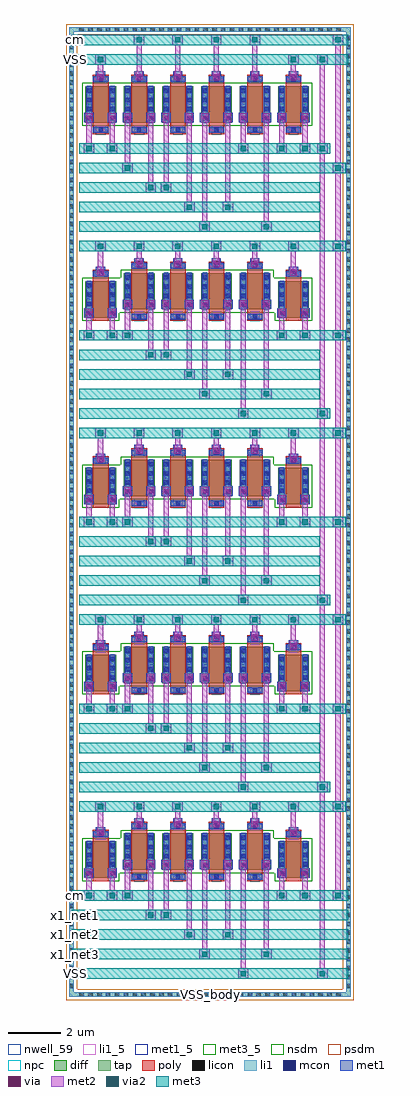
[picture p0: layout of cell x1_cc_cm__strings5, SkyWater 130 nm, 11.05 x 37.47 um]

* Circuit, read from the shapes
.subckt x1_cc_cm__strings5 VSS VSS_body cm x1_net1 x1_net2 x1_net3
XM1 cm cm cm VSS_body sky130_fd_pr__nfet_01v8 w=1.4 l=0.6 m=8
XM2 VSS VSS VSS VSS_body sky130_fd_pr__nfet_01v8 w=1.4 l=0.6 m=2
XM3 x1_net1 cm cm VSS_body sky130_fd_pr__nfet_01v8 w=1.4 l=0.6
XM4 nfet_01v8_W1p4_L0p6_m1__nf1_gboth_sdfull_ng_21/D cm cm VSS_body sky130_fd_pr__nfet_01v8 w=1.4 l=0.6
XM5 nfet_01v8_W1p4_L0p6_m1__nf1_gboth_sdfull_ng_15/D cm cm VSS_body sky130_fd_pr__nfet_01v8 w=1.4 l=0.6
XM6 nfet_01v8_W1p4_L0p6_m1__nf1_gboth_sdfull_ng_9/D cm cm VSS_body sky130_fd_pr__nfet_01v8 w=1.4 l=0.6
XM7 nfet_01v8_W1p4_L0p6_m1__nf1_gboth_sdfull_ng_3/D cm cm VSS_body sky130_fd_pr__nfet_01v8 w=1.4 l=0.6
XM8 x1_net2 cm x1_net1 VSS_body sky130_fd_pr__nfet_01v8 w=1.4 l=0.6
XM9 nfet_01v8_W1p4_L0p6_m1__nf1_gboth_sdfull_ng_20/D cm nfet_01v8_W1p4_L0p6_m1__nf1_gboth_sdfull_ng_21/D VSS_body sky130_fd_pr__nfet_01v8 w=1.4 l=0.6
XM10 nfet_01v8_W1p4_L0p6_m1__nf1_gboth_sdfull_ng_14/D cm nfet_01v8_W1p4_L0p6_m1__nf1_gboth_sdfull_ng_15/D VSS_body sky130_fd_pr__nfet_01v8 w=1.4 l=0.6
XM11 nfet_01v8_W1p4_L0p6_m1__nf1_gboth_sdfull_ng_8/D cm nfet_01v8_W1p4_L0p6_m1__nf1_gboth_sdfull_ng_9/D VSS_body sky130_fd_pr__nfet_01v8 w=1.4 l=0.6
XM12 nfet_01v8_W1p4_L0p6_m1__nf1_gboth_sdfull_ng_2/D cm nfet_01v8_W1p4_L0p6_m1__nf1_gboth_sdfull_ng_3/D VSS_body sky130_fd_pr__nfet_01v8 w=1.4 l=0.6
XM13 x1_net2 cm x1_net3 VSS_body sky130_fd_pr__nfet_01v8 w=1.4 l=0.6
XM14 nfet_01v8_W1p4_L0p6_m1__nf1_gboth_sdfull_ng_20/D cm nfet_01v8_W1p4_L0p6_m1__nf1_gboth_sdfull_ng_19/D VSS_body sky130_fd_pr__nfet_01v8 w=1.4 l=0.6
XM15 nfet_01v8_W1p4_L0p6_m1__nf1_gboth_sdfull_ng_14/D cm nfet_01v8_W1p4_L0p6_m1__nf1_gboth_sdfull_ng_13/D VSS_body sky130_fd_pr__nfet_01v8 w=1.4 l=0.6
XM16 nfet_01v8_W1p4_L0p6_m1__nf1_gboth_sdfull_ng_8/D cm nfet_01v8_W1p4_L0p6_m1__nf1_gboth_sdfull_ng_7/D VSS_body sky130_fd_pr__nfet_01v8 w=1.4 l=0.6
XM17 nfet_01v8_W1p4_L0p6_m1__nf1_gboth_sdfull_ng_2/D cm nfet_01v8_W1p4_L0p6_m1__nf1_gboth_sdfull_ng_1/D VSS_body sky130_fd_pr__nfet_01v8 w=1.4 l=0.6
XM18 x1_net3 cm VSS VSS_body sky130_fd_pr__nfet_01v8 w=1.4 l=0.6
XM19 nfet_01v8_W1p4_L0p6_m1__nf1_gboth_sdfull_ng_19/D cm VSS VSS_body sky130_fd_pr__nfet_01v8 w=1.4 l=0.6
XM20 nfet_01v8_W1p4_L0p6_m1__nf1_gboth_sdfull_ng_13/D cm VSS VSS_body sky130_fd_pr__nfet_01v8 w=1.4 l=0.6
XM21 nfet_01v8_W1p4_L0p6_m1__nf1_gboth_sdfull_ng_7/D cm VSS VSS_body sky130_fd_pr__nfet_01v8 w=1.4 l=0.6
XM22 nfet_01v8_W1p4_L0p6_m1__nf1_gboth_sdfull_ng_1/D cm VSS VSS_body sky130_fd_pr__nfet_01v8 w=1.4 l=0.6
.ends

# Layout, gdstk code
from math import pi, radians
import gdstk
lib = gdstk.Library(unit=1e-6, precision=1e-09)
def R(c, l, rs):  # rectangles x0, y0, x1, y1
    for r in rs: c.add(gdstk.rectangle(r[:2], r[2:], *l))
def A(c, l, x, y, w, h, nx, ny, dx, dy):  # array of equal rectangles
    R(c, l, [(x+i*dx, y+j*dy, x+i*dx+w, y+j*dy+h) for i in range(nx) for j in range(ny)])
nwell_59 = (64, 59)
diff = (65, 20)
tap = (65, 44)
poly = (66, 20)
licon = (66, 44)
li1_5 = (67, 5)
li1 = (67, 20)
mcon = (67, 44)
met1_5 = (68, 5)
met1 = (68, 20)
via = (68, 44)
met2 = (69, 20)
via2 = (69, 44)
met3_5 = (70, 5)
met3 = (70, 20)
nsdm = (93, 44)
psdm = (94, 20)
npc = (95, 20)

sky130_fd_pr__nfet_01v8_ = lib.new_cell('sky130_fd_pr__nfet_01v8_KCM6UP')
R(sky130_fd_pr__nfet_01v8_, diff, [(-0.59,-0.7,0.59,0.7)])
R(sky130_fd_pr__nfet_01v8_, poly, [(-0.3,-1.14,0.3,1.14)])
A(sky130_fd_pr__nfet_01v8_, licon, -0.53, -0.595, 0.17, 0.17, 1, 4, 0, 0.34)
A(sky130_fd_pr__nfet_01v8_, licon, 0.36, -0.595, 0.17, 0.17, 1, 4, 0, 0.34)
R(sky130_fd_pr__nfet_01v8_, licon, [(-0.085,-1.06,0.085,-0.89), (-0.085,0.89,0.085,1.06)])
R(sky130_fd_pr__nfet_01v8_, li1, [(-0.3,-1.06,0.3,-0.89), (-0.53,-0.72,-0.36,0.72), (0.36,-0.72,0.53,0.72), (-0.3,0.89,0.3,1.06)])
A(sky130_fd_pr__nfet_01v8_, mcon, -0.53, -0.625, 0.17, 0.17, 1, 4, 0, 0.36)
A(sky130_fd_pr__nfet_01v8_, mcon, 0.36, -0.625, 0.17, 0.17, 1, 4, 0, 0.36)
R(sky130_fd_pr__nfet_01v8_, mcon, [(-0.085,-1.06,0.085,-0.89), (-0.085,0.89,0.085,1.06)])
R(sky130_fd_pr__nfet_01v8_, met1, [(-0.28,-1.09,0.28,-0.86), (-0.56,-0.7,-0.33,0.7), (0.33,-0.7,0.56,0.7), (-0.28,0.86,0.28,1.09)])
R(sky130_fd_pr__nfet_01v8_, nsdm, [(-0.715,-0.825,0.715,0.825)])
R(sky130_fd_pr__nfet_01v8_, npc, [(-0.185,-1.16,0.185,-0.79), (-0.185,0.79,0.185,1.16)])
sky130_fd_pr__nfet_01v8_.add(gdstk.Label('D', (-0.445,0), layer=67, texttype=5))
sky130_fd_pr__nfet_01v8_.add(gdstk.Label('S', (0.445,0), layer=67, texttype=5))
sky130_fd_pr__nfet_01v8_.add(gdstk.Label('G', (0,0.975), layer=67, texttype=5))

nfet_01v8_w1p4_l0p6_m1__ = lib.new_cell('nfet_01v8_W1p4_L0p6_m1__nf1_gboth_sdfull_ng')
R(nfet_01v8_w1p4_l0p6_m1__, nwell_59, [(0.05,1.09,0.15,1.19)])
R(nfet_01v8_w1p4_l0p6_m1__, met1_5, [(0.03,1.14,0.26,1.34), (0.92,1.14,1.15,1.34), (0.31,2,0.87,2.23)])
R(nfet_01v8_w1p4_l0p6_m1__, met1, [(0.03,1.14,0.26,1.34), (0.92,1.14,1.15,1.34), (0.31,2,0.87,2.23)])
nfet_01v8_w1p4_l0p6_m1__.add(gdstk.Reference(sky130_fd_pr__nfet_01v8_, (0.59,1.14)))
nfet_01v8_w1p4_l0p6_m1__.add(gdstk.Label('D', (0.145,1.24), layer=68, texttype=5))
nfet_01v8_w1p4_l0p6_m1__.add(gdstk.Label('S', (1.035,1.24), layer=68, texttype=5))
nfet_01v8_w1p4_l0p6_m1__.add(gdstk.Label('G', (0.59,2.115), layer=68, texttype=5))
nfet_01v8_w1p4_l0p6_m1__.add(gdstk.Label('B', (0.1,1.14), layer=64, texttype=59))

c_sky130_fd_pr__nfet_01v8_ = lib.new_cell('sky130_fd_pr__nfet_01v8_RUA5M6')
R(c_sky130_fd_pr__nfet_01v8_, diff, [(-0.59,-0.855,0.59,0.545)])
R(c_sky130_fd_pr__nfet_01v8_, poly, [(-0.3,-0.985,0.3,0.985)])
A(c_sky130_fd_pr__nfet_01v8_, licon, -0.53, -0.75, 0.17, 0.17, 1, 4, 0, 0.34)
A(c_sky130_fd_pr__nfet_01v8_, licon, 0.36, -0.75, 0.17, 0.17, 1, 4, 0, 0.34)
R(c_sky130_fd_pr__nfet_01v8_, licon, [(-0.085,0.735,0.085,0.905)])
R(c_sky130_fd_pr__nfet_01v8_, li1, [(-0.53,-0.875,-0.36,0.565), (0.36,-0.875,0.53,0.565), (-0.3,0.735,0.3,0.905)])
A(c_sky130_fd_pr__nfet_01v8_, mcon, -0.53, -0.78, 0.17, 0.17, 1, 4, 0, 0.36)
A(c_sky130_fd_pr__nfet_01v8_, mcon, 0.36, -0.78, 0.17, 0.17, 1, 4, 0, 0.36)
R(c_sky130_fd_pr__nfet_01v8_, mcon, [(-0.085,0.735,0.085,0.905)])
R(c_sky130_fd_pr__nfet_01v8_, met1, [(-0.56,-0.855,-0.33,0.545), (0.33,-0.855,0.56,0.545), (-0.28,0.705,0.28,0.935)])
R(c_sky130_fd_pr__nfet_01v8_, nsdm, [(-0.715,-0.98,0.715,0.67)])
R(c_sky130_fd_pr__nfet_01v8_, npc, [(-0.185,0.635,0.185,1.005)])
c_sky130_fd_pr__nfet_01v8_.add(gdstk.Label('D', (-0.445,-0.155), layer=67, texttype=5))
c_sky130_fd_pr__nfet_01v8_.add(gdstk.Label('S', (0.445,-0.155), layer=67, texttype=5))
c_sky130_fd_pr__nfet_01v8_.add(gdstk.Label('G', (0,0.82), layer=67, texttype=5))

nfet_01v8_w1p4_l0p6_m8__ = lib.new_cell('nfet_01v8_W1p4_L0p6_m8__nf1_gtop_sdfull_ng')
R(nfet_01v8_w1p4_l0p6_m8__, nwell_59, [(0.05,0.78,0.15,0.88)])
R(nfet_01v8_w1p4_l0p6_m8__, met1_5, [(0.03,0.83,0.26,1.03), (0.92,0.83,1.15,1.03), (0.31,1.69,0.87,1.92)])
R(nfet_01v8_w1p4_l0p6_m8__, met1, [(0.03,0.83,0.26,1.03), (0.92,0.83,1.15,1.03), (0.31,1.69,0.87,1.92)])
nfet_01v8_w1p4_l0p6_m8__.add(gdstk.Reference(c_sky130_fd_pr__nfet_01v8_, (0.59,0.985)))
nfet_01v8_w1p4_l0p6_m8__.add(gdstk.Label('D', (0.145,0.93), layer=68, texttype=5))
nfet_01v8_w1p4_l0p6_m8__.add(gdstk.Label('S', (1.035,0.93), layer=68, texttype=5))
nfet_01v8_w1p4_l0p6_m8__.add(gdstk.Label('G', (0.59,1.805), layer=68, texttype=5))
nfet_01v8_w1p4_l0p6_m8__.add(gdstk.Label('B', (0.1,0.83), layer=64, texttype=59))

x1_cc_cm__strings5 = lib.new_cell('x1_cc_cm__strings5')
R(x1_cc_cm__strings5, tap, [(-0.485,-4.435,10.315,-4.265), (-0.485,-4.265,-0.315,32.615), (10.145,-4.265,10.315,32.615), (-0.485,32.615,10.315,32.785)])
A(x1_cc_cm__strings5, licon, -0.1, -4.435, 0.17, 0.17, 30, 2, 0.34, 37.05)
A(x1_cc_cm__strings5, licon, -0.485, -4.1, 0.17, 0.17, 1, 108, 0, 0.34)
A(x1_cc_cm__strings5, licon, 10.145, -4.1, 0.17, 0.17, 1, 108, 0, 0.34)
R(x1_cc_cm__strings5, li1_5, [(4.865,-4.4,4.965,-4.3)])
R(x1_cc_cm__strings5, li1, [(-0.485,-4.435,10.315,-4.265), (-0.485,-4.265,-0.315,32.615), (10.145,-4.265,10.315,32.615), (-0.485,32.615,10.315,32.785)])
A(x1_cc_cm__strings5, met1, 0.09, 0.13, 0.36, 0.36, 1, 4, 0, 7.17)
A(x1_cc_cm__strings5, met1, 0.98, 0.13, 0.36, 0.36, 1, 4, 0, 7.17)
A(x1_cc_cm__strings5, met1, 7.49, 0.13, 0.36, 0.36, 1, 4, 0, 7.17)
A(x1_cc_cm__strings5, met1, 8.38, 0.13, 0.36, 0.36, 1, 4, 0, 7.17)
A(x1_cc_cm__strings5, met1, 1.57, 0.46, 0.36, 0.36, 1, 5, 0, 7.17)
A(x1_cc_cm__strings5, met1, 2.46, 0.46, 0.36, 0.36, 1, 5, 0, 7.17)
A(x1_cc_cm__strings5, met1, 3.05, 0.46, 0.36, 0.36, 1, 5, 0, 7.17)
A(x1_cc_cm__strings5, met1, 3.94, 0.46, 0.36, 0.36, 1, 5, 0, 7.17)
A(x1_cc_cm__strings5, met1, 4.53, 0.46, 0.36, 0.36, 1, 5, 0, 7.17)
A(x1_cc_cm__strings5, met1, 5.42, 0.46, 0.36, 0.36, 1, 5, 0, 7.17)
A(x1_cc_cm__strings5, met1, 6.01, 0.46, 0.36, 0.36, 1, 5, 0, 7.17)
A(x1_cc_cm__strings5, met1, 6.9, 0.46, 0.36, 0.36, 1, 5, 0, 7.17)
A(x1_cc_cm__strings5, met1, 0.535, 1.72, 0.36, 0.36, 1, 4, 0, 7.17)
A(x1_cc_cm__strings5, met1, 7.935, 1.72, 0.36, 0.36, 1, 4, 0, 7.17)
A(x1_cc_cm__strings5, met1, 2.015, 2.05, 0.36, 0.36, 4, 4, 1.48, 7.17)
A(x1_cc_cm__strings5, met1, 0.535, 30.73, 0.36, 0.36, 6, 1, 1.48, 0)
R(x1_cc_cm__strings5, met1, [(0.09,29.14,0.45,29.5), (0.98,29.14,1.34,29.5), (7.49,29.14,7.85,29.5), (8.38,29.14,8.74,29.5)])
A(x1_cc_cm__strings5, via, 0.195, 0.235, 0.15, 0.15, 1, 4, 0, 7.17)
A(x1_cc_cm__strings5, via, 1.085, 0.235, 0.15, 0.15, 1, 4, 0, 7.17)
A(x1_cc_cm__strings5, via, 7.595, 0.235, 0.15, 0.15, 1, 4, 0, 7.17)
A(x1_cc_cm__strings5, via, 8.485, 0.235, 0.15, 0.15, 1, 4, 0, 7.17)
A(x1_cc_cm__strings5, via, 1.675, 0.565, 0.15, 0.15, 1, 5, 0, 7.17)
A(x1_cc_cm__strings5, via, 2.565, 0.565, 0.15, 0.15, 1, 5, 0, 7.17)
A(x1_cc_cm__strings5, via, 3.155, 0.565, 0.15, 0.15, 1, 5, 0, 7.17)
A(x1_cc_cm__strings5, via, 4.045, 0.565, 0.15, 0.15, 1, 5, 0, 7.17)
A(x1_cc_cm__strings5, via, 4.635, 0.565, 0.15, 0.15, 1, 5, 0, 7.17)
A(x1_cc_cm__strings5, via, 5.525, 0.565, 0.15, 0.15, 1, 5, 0, 7.17)
A(x1_cc_cm__strings5, via, 6.115, 0.565, 0.15, 0.15, 1, 5, 0, 7.17)
A(x1_cc_cm__strings5, via, 7.005, 0.565, 0.15, 0.15, 1, 5, 0, 7.17)
A(x1_cc_cm__strings5, via, 0.64, 1.825, 0.15, 0.15, 1, 4, 0, 7.17)
A(x1_cc_cm__strings5, via, 8.04, 1.825, 0.15, 0.15, 1, 4, 0, 7.17)
A(x1_cc_cm__strings5, via, 2.12, 2.155, 0.15, 0.15, 4, 4, 1.48, 7.17)
A(x1_cc_cm__strings5, via, 0.64, 30.835, 0.15, 0.15, 6, 1, 1.48, 0)
R(x1_cc_cm__strings5, via, [(0.195,29.245,0.345,29.395), (1.085,29.245,1.235,29.395), (7.595,29.245,7.745,29.395), (8.485,29.245,8.635,29.395)])
A(x1_cc_cm__strings5, met2, 5.99, -3.75, 0.4, 0.4, 1, 4, 0, 7.17)
A(x1_cc_cm__strings5, met2, 9.03, -3.75, 0.4, 0.4, 1, 4, 0, 7.17)
A(x1_cc_cm__strings5, met2, 6.09, -3.35, 0.2, 3.83, 1, 4, 0, 7.17)
A(x1_cc_cm__strings5, met2, 9.13, -3.35, 0.2, 6.77, 1, 3, 0, 7.17)
A(x1_cc_cm__strings5, met2, 4.51, -3, 0.4, 0.4, 1, 4, 0, 7.17)
A(x1_cc_cm__strings5, met2, 6.88, -3, 0.4, 0.4, 1, 4, 0, 7.17)
A(x1_cc_cm__strings5, met2, 4.61, -2.6, 0.2, 3.08, 1, 4, 0, 7.17)
A(x1_cc_cm__strings5, met2, 6.98, -2.6, 0.2, 3.08, 1, 4, 0, 7.17)
A(x1_cc_cm__strings5, met2, 3.92, -2.25, 0.4, 0.4, 1, 4, 0, 7.17)
A(x1_cc_cm__strings5, met2, 5.4, -2.25, 0.4, 0.4, 1, 4, 0, 7.17)
A(x1_cc_cm__strings5, met2, 4.02, -1.85, 0.2, 2.33, 1, 4, 0, 7.17)
A(x1_cc_cm__strings5, met2, 5.5, -1.85, 0.2, 2.33, 1, 4, 0, 7.17)
A(x1_cc_cm__strings5, met2, 2.44, -1.5, 0.4, 0.4, 1, 4, 0, 7.17)
A(x1_cc_cm__strings5, met2, 3.03, -1.5, 0.4, 0.4, 1, 4, 0, 7.17)
A(x1_cc_cm__strings5, met2, 2.54, -1.1, 0.2, 1.58, 1, 4, 0, 7.17)
A(x1_cc_cm__strings5, met2, 3.13, -1.1, 0.2, 1.58, 1, 4, 0, 7.17)
A(x1_cc_cm__strings5, met2, 0.07, -0.75, 0.4, 0.4, 1, 5, 0, 7.17)
A(x1_cc_cm__strings5, met2, 0.96, -0.75, 0.4, 0.4, 1, 5, 0, 7.17)
A(x1_cc_cm__strings5, met2, 1.55, -0.75, 0.4, 0.4, 1, 4, 0, 7.17)
A(x1_cc_cm__strings5, met2, 7.47, -0.75, 0.4, 0.4, 1, 5, 0, 7.17)
A(x1_cc_cm__strings5, met2, 8.36, -0.75, 0.4, 0.4, 1, 5, 0, 7.17)
A(x1_cc_cm__strings5, met2, 0.17, -0.35, 0.2, 0.5, 1, 4, 0, 7.17)
A(x1_cc_cm__strings5, met2, 1.06, -0.35, 0.2, 0.5, 1, 4, 0, 7.17)
A(x1_cc_cm__strings5, met2, 1.65, -0.35, 0.2, 0.83, 1, 4, 0, 7.17)
A(x1_cc_cm__strings5, met2, 7.57, -0.35, 0.2, 0.5, 1, 4, 0, 7.17)
A(x1_cc_cm__strings5, met2, 8.46, -0.35, 0.2, 0.5, 1, 4, 0, 7.17)
A(x1_cc_cm__strings5, met2, 9.73, -0.35, 0.2, 3.02, 1, 4, 0, 7.17)
A(x1_cc_cm__strings5, met2, 0.14, 0.15, 0.26, 0.32, 1, 4, 0, 7.17)
A(x1_cc_cm__strings5, met2, 1.03, 0.15, 0.26, 0.32, 1, 4, 0, 7.17)
A(x1_cc_cm__strings5, met2, 7.54, 0.15, 0.26, 0.32, 1, 4, 0, 7.17)
A(x1_cc_cm__strings5, met2, 8.43, 0.15, 0.26, 0.32, 1, 4, 0, 7.17)
A(x1_cc_cm__strings5, met2, 1.62, 0.48, 0.26, 0.32, 1, 5, 0, 7.17)
A(x1_cc_cm__strings5, met2, 2.51, 0.48, 0.26, 0.32, 1, 5, 0, 7.17)
A(x1_cc_cm__strings5, met2, 3.1, 0.48, 0.26, 0.32, 1, 5, 0, 7.17)
A(x1_cc_cm__strings5, met2, 3.99, 0.48, 0.26, 0.32, 1, 5, 0, 7.17)
A(x1_cc_cm__strings5, met2, 4.58, 0.48, 0.26, 0.32, 1, 5, 0, 7.17)
A(x1_cc_cm__strings5, met2, 5.47, 0.48, 0.26, 0.32, 1, 5, 0, 7.17)
A(x1_cc_cm__strings5, met2, 6.06, 0.48, 0.26, 0.32, 1, 5, 0, 7.17)
A(x1_cc_cm__strings5, met2, 6.95, 0.48, 0.26, 0.32, 1, 5, 0, 7.17)
A(x1_cc_cm__strings5, met2, 0.585, 1.74, 0.26, 0.32, 1, 4, 0, 7.17)
A(x1_cc_cm__strings5, met2, 7.985, 1.74, 0.26, 0.32, 1, 4, 0, 7.17)
A(x1_cc_cm__strings5, met2, 0.615, 2.06, 0.2, 0.61, 1, 4, 0, 7.17)
A(x1_cc_cm__strings5, met2, 8.015, 2.06, 0.2, 0.61, 1, 4, 0, 7.17)
A(x1_cc_cm__strings5, met2, 2.065, 2.07, 0.26, 0.32, 4, 4, 1.48, 7.17)
A(x1_cc_cm__strings5, met2, 2.095, 2.39, 0.2, 0.28, 4, 4, 1.48, 7.17)
A(x1_cc_cm__strings5, met2, 0.515, 2.67, 0.4, 0.4, 6, 4, 1.48, 7.17)
A(x1_cc_cm__strings5, met2, 9.73, 3.07, 0.2, 3.35, 1, 3, 0, 7.17)
A(x1_cc_cm__strings5, met2, 0.585, 30.75, 0.26, 0.32, 6, 1, 1.48, 0)
A(x1_cc_cm__strings5, met2, 2.095, 31.07, 0.2, 1.03, 4, 1, 1.48, 0)
A(x1_cc_cm__strings5, met2, 1.995, 32.1, 0.4, 0.4, 4, 1, 1.48, 0)
R(x1_cc_cm__strings5, met2, [(9.63,-0.75,10.03,-0.35), (9.63,2.67,10.03,3.07), (9.63,6.42,10.03,6.82), (9.63,9.84,10.03,10.24), (9.63,13.59,10.03,13.99), (9.63,17.01,10.03,17.41), (9.13,18.16,9.33,27.93), (9.63,20.76,10.03,21.16), (9.63,24.18,10.03,24.58), (9.73,24.58,9.93,27.18), (4.51,24.93,4.91,25.33), (6.88,24.93,7.28,25.33), (4.61,25.33,4.81,29.16), (6.98,25.33,7.18,29.16), (3.92,25.68,4.32,26.08), (5.4,25.68,5.8,26.08), (4.02,26.08,4.22,29.16), (5.5,26.08,5.7,29.16), (2.44,26.43,2.84,26.83), (3.03,26.43,3.43,26.83), (2.54,26.83,2.74,29.16), (3.13,26.83,3.33,29.16), (1.55,27.18,1.95,27.58), (9.63,27.18,10.03,27.58), (1.65,27.58,1.85,29.16), (9.73,27.58,9.93,32.1), (5.99,27.93,6.39,28.33), (9.03,27.93,9.43,28.33), (0.17,28.33,0.37,29.16), (1.06,28.33,1.26,29.16), (6.09,28.33,6.29,29.16), (7.57,28.33,7.77,29.16), (8.46,28.33,8.66,29.16), (9.13,28.33,9.33,31.35), (0.14,29.16,0.4,29.48), (1.03,29.16,1.29,29.48), (7.54,29.16,7.8,29.48), (8.43,29.16,8.69,29.48), (0.615,31.07,0.815,31.35), (8.015,31.07,8.215,31.35), (0.515,31.35,0.915,31.75), (7.915,31.35,8.315,31.75), (9.03,31.35,9.43,31.75), (9.63,32.1,10.03,32.5)])
A(x1_cc_cm__strings5, via2, 6.09, -3.65, 0.2, 0.2, 1, 4, 0, 7.17)
A(x1_cc_cm__strings5, via2, 9.13, -3.65, 0.2, 0.2, 1, 4, 0, 7.17)
A(x1_cc_cm__strings5, via2, 4.61, -2.9, 0.2, 0.2, 1, 4, 0, 7.17)
A(x1_cc_cm__strings5, via2, 6.98, -2.9, 0.2, 0.2, 1, 4, 0, 7.17)
A(x1_cc_cm__strings5, via2, 4.02, -2.15, 0.2, 0.2, 1, 4, 0, 7.17)
A(x1_cc_cm__strings5, via2, 5.5, -2.15, 0.2, 0.2, 1, 4, 0, 7.17)
A(x1_cc_cm__strings5, via2, 2.54, -1.4, 0.2, 0.2, 1, 4, 0, 7.17)
A(x1_cc_cm__strings5, via2, 3.13, -1.4, 0.2, 0.2, 1, 4, 0, 7.17)
A(x1_cc_cm__strings5, via2, 0.17, -0.65, 0.2, 0.2, 1, 5, 0, 7.17)
A(x1_cc_cm__strings5, via2, 1.06, -0.65, 0.2, 0.2, 1, 5, 0, 7.17)
A(x1_cc_cm__strings5, via2, 1.65, -0.65, 0.2, 0.2, 1, 4, 0, 7.17)
A(x1_cc_cm__strings5, via2, 7.57, -0.65, 0.2, 0.2, 1, 5, 0, 7.17)
A(x1_cc_cm__strings5, via2, 8.46, -0.65, 0.2, 0.2, 1, 5, 0, 7.17)
A(x1_cc_cm__strings5, via2, 0.615, 2.77, 0.2, 0.2, 6, 4, 1.48, 7.17)
A(x1_cc_cm__strings5, via2, 2.095, 32.2, 0.2, 0.2, 4, 1, 1.48, 0)
R(x1_cc_cm__strings5, via2, [(9.73,-0.65,9.93,-0.45), (9.73,2.77,9.93,2.97), (9.73,6.52,9.93,6.72), (9.73,9.94,9.93,10.14), (9.73,13.69,9.93,13.89), (9.73,17.11,9.93,17.31), (9.73,20.86,9.93,21.06), (9.73,24.28,9.93,24.48), (4.61,25.03,4.81,25.23), (6.98,25.03,7.18,25.23), (4.02,25.78,4.22,25.98), (5.5,25.78,5.7,25.98), (2.54,26.53,2.74,26.73), (3.13,26.53,3.33,26.73), (1.65,27.28,1.85,27.48), (9.73,27.28,9.93,27.48), (6.09,28.03,6.29,28.23), (9.13,28.03,9.33,28.23), (0.615,31.45,0.815,31.65), (8.015,31.45,8.215,31.65), (9.13,31.45,9.33,31.65), (9.73,32.2,9.93,32.4)])
A(x1_cc_cm__strings5, met3_5, -0.3, -3.6, 0.1, 0.1, 1, 5, 0, 0.75)
R(x1_cc_cm__strings5, met3_5, [(-0.3,31.5,-0.2,31.6), (-0.3,32.25,-0.2,32.35)])
A(x1_cc_cm__strings5, met3, -0.4, -3.75, 10.63, 0.4, 1, 5, 0, 0.75)
A(x1_cc_cm__strings5, met3, -0.1, 3.42, 9.63, 0.4, 1, 3, 0, 7.17)
A(x1_cc_cm__strings5, met3, -0.1, 4.17, 9.23, 0.4, 1, 3, 0, 0.75)
A(x1_cc_cm__strings5, met3, -0.1, 11.34, 9.23, 0.4, 1, 3, 0, 0.75)
A(x1_cc_cm__strings5, met3, -0.1, 18.51, 9.23, 0.4, 1, 3, 0, 0.75)
A(x1_cc_cm__strings5, met3, -0.1, 24.93, 9.23, 0.4, 1, 3, 0, 0.75)
R(x1_cc_cm__strings5, met3, [(-0.1,2.67,10.13,3.07), (-0.1,6.42,10.13,6.82), (-0.1,9.84,10.13,10.24), (-0.1,13.59,10.13,13.99), (-0.1,17.01,10.13,17.41), (-0.1,20.76,10.13,21.16), (-0.1,24.18,10.13,24.58), (-0.1,27.18,10.13,27.58), (-0.1,27.93,9.53,28.33), (-0.4,31.35,10.23,31.75), (-0.4,32.1,10.23,32.5)])
A(x1_cc_cm__strings5, nsdm, 1.435, 0.315, 0.05, 1.34, 1, 4, 0, 7.17)
A(x1_cc_cm__strings5, nsdm, 2.915, 0.315, 0.05, 1.65, 3, 4, 1.48, 7.17)
A(x1_cc_cm__strings5, nsdm, 7.355, 0.315, 0.05, 1.34, 1, 4, 0, 7.17)
A(x1_cc_cm__strings5, nsdm, 1.435, 28.995, 0.05, 1.65, 5, 1, 1.48, 0)
R(x1_cc_cm__strings5, psdm, [(-0.61,-4.56,10.44,-4.14), (-0.61,-4.14,-0.19,32.49), (10.02,-4.14,10.44,32.49), (-0.61,32.49,10.44,32.91)])
x1_cc_cm__strings5.add(gdstk.Reference(nfet_01v8_w1p4_l0p6_m1__, (8.71,28.68), rotation=pi, x_reflection=True))
x1_cc_cm__strings5.add(gdstk.Reference(nfet_01v8_w1p4_l0p6_m1__, (7.23,28.68), rotation=pi, x_reflection=True))
x1_cc_cm__strings5.add(gdstk.Reference(nfet_01v8_w1p4_l0p6_m1__, (5.75,28.68), rotation=pi, x_reflection=True))
x1_cc_cm__strings5.add(gdstk.Reference(nfet_01v8_w1p4_l0p6_m1__, (3.09,28.68)))
x1_cc_cm__strings5.add(gdstk.Reference(nfet_01v8_w1p4_l0p6_m1__, (1.61,28.68)))
x1_cc_cm__strings5.add(gdstk.Reference(nfet_01v8_w1p4_l0p6_m1__, (0.13,28.68)))
x1_cc_cm__strings5.add(gdstk.Reference(nfet_01v8_w1p4_l0p6_m8__, (7.53,21.51)))
x1_cc_cm__strings5.add(gdstk.Reference(nfet_01v8_w1p4_l0p6_m1__, (7.23,21.51), rotation=pi, x_reflection=True))
x1_cc_cm__strings5.add(gdstk.Reference(nfet_01v8_w1p4_l0p6_m1__, (5.75,21.51), rotation=pi, x_reflection=True))
x1_cc_cm__strings5.add(gdstk.Reference(nfet_01v8_w1p4_l0p6_m1__, (3.09,21.51)))
x1_cc_cm__strings5.add(gdstk.Reference(nfet_01v8_w1p4_l0p6_m1__, (1.61,21.51)))
x1_cc_cm__strings5.add(gdstk.Reference(nfet_01v8_w1p4_l0p6_m8__, (0.13,21.51)))
x1_cc_cm__strings5.add(gdstk.Reference(nfet_01v8_w1p4_l0p6_m8__, (7.53,14.34)))
x1_cc_cm__strings5.add(gdstk.Reference(nfet_01v8_w1p4_l0p6_m1__, (7.23,14.34), rotation=pi, x_reflection=True))
x1_cc_cm__strings5.add(gdstk.Reference(nfet_01v8_w1p4_l0p6_m1__, (5.75,14.34), rotation=pi, x_reflection=True))
x1_cc_cm__strings5.add(gdstk.Reference(nfet_01v8_w1p4_l0p6_m1__, (3.09,14.34)))
x1_cc_cm__strings5.add(gdstk.Reference(nfet_01v8_w1p4_l0p6_m1__, (1.61,14.34)))
x1_cc_cm__strings5.add(gdstk.Reference(nfet_01v8_w1p4_l0p6_m8__, (0.13,14.34)))
x1_cc_cm__strings5.add(gdstk.Reference(nfet_01v8_w1p4_l0p6_m8__, (7.53,7.17)))
x1_cc_cm__strings5.add(gdstk.Reference(nfet_01v8_w1p4_l0p6_m1__, (7.23,7.17), rotation=pi, x_reflection=True))
x1_cc_cm__strings5.add(gdstk.Reference(nfet_01v8_w1p4_l0p6_m1__, (5.75,7.17), rotation=pi, x_reflection=True))
x1_cc_cm__strings5.add(gdstk.Reference(nfet_01v8_w1p4_l0p6_m1__, (3.09,7.17)))
x1_cc_cm__strings5.add(gdstk.Reference(nfet_01v8_w1p4_l0p6_m1__, (1.61,7.17)))
x1_cc_cm__strings5.add(gdstk.Reference(nfet_01v8_w1p4_l0p6_m8__, (0.13,7.17)))
x1_cc_cm__strings5.add(gdstk.Reference(nfet_01v8_w1p4_l0p6_m8__, (7.53,0)))
x1_cc_cm__strings5.add(gdstk.Reference(nfet_01v8_w1p4_l0p6_m1__, (7.23,0), rotation=pi, x_reflection=True))
x1_cc_cm__strings5.add(gdstk.Reference(nfet_01v8_w1p4_l0p6_m1__, (5.75,0), rotation=pi, x_reflection=True))
x1_cc_cm__strings5.add(gdstk.Reference(nfet_01v8_w1p4_l0p6_m1__, (3.09,0)))
x1_cc_cm__strings5.add(gdstk.Reference(nfet_01v8_w1p4_l0p6_m1__, (1.61,0)))
x1_cc_cm__strings5.add(gdstk.Reference(nfet_01v8_w1p4_l0p6_m8__, (0.13,0)))
x1_cc_cm__strings5.add(gdstk.Label('VSS', (-0.25,31.55), layer=70, texttype=5))
x1_cc_cm__strings5.add(gdstk.Label('cm', (-0.25,32.3), layer=70, texttype=5))
x1_cc_cm__strings5.add(gdstk.Label('cm', (-0.25,-0.55), layer=70, texttype=5))
x1_cc_cm__strings5.add(gdstk.Label('x1_net1', (-0.25,-1.3), layer=70, texttype=5))
x1_cc_cm__strings5.add(gdstk.Label('x1_net2', (-0.25,-2.05), layer=70, texttype=5))
x1_cc_cm__strings5.add(gdstk.Label('x1_net3', (-0.25,-2.8), layer=70, texttype=5))
x1_cc_cm__strings5.add(gdstk.Label('VSS', (-0.25,-3.55), layer=70, texttype=5))
x1_cc_cm__strings5.add(gdstk.Label('VSS_body', (4.915,-4.35), layer=67, texttype=5))

lib.write_gds('x1_cc_cm__strings5.gds')
